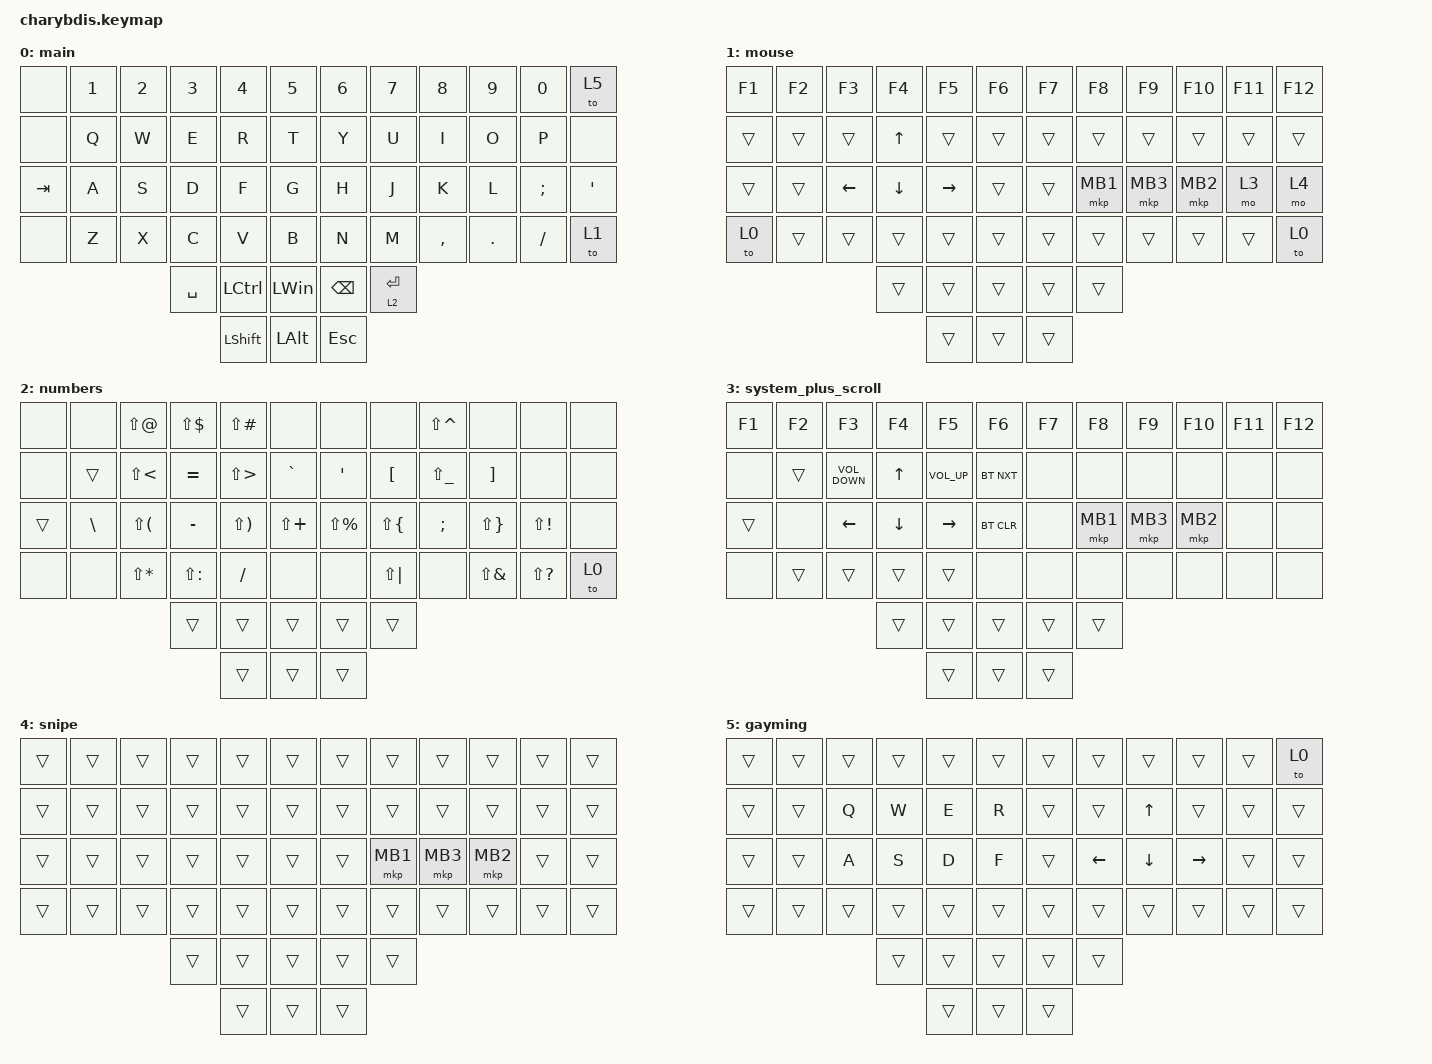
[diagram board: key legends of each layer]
#include <behaviors.dtsi>
#include <dt-bindings/zmk/bt.h>
#include <dt-bindings/zmk/keys.h>
#include <dt-bindings/zmk/pointing.h>

&lt {
    tapping-term-ms = <200>;
    flavor = "balanced";
    quick-tap-ms = <150>;
};

/ {
    keymap {
        compatible = "zmk,keymap";

        main {
            bindings = <
&none    &kp N1  &kp N2  &kp N3     &kp N4          &kp N5          &kp N6         &kp N7        &kp N8     &kp N9      &kp N0    &to 5
&none    &kp Q   &kp W   &kp E      &kp R           &kp T           &kp Y          &kp U         &kp I      &kp O       &kp P     &none
&kp TAB  &kp A   &kp S   &kp D      &kp F           &kp G           &kp H          &kp J         &kp K      &kp L       &kp SEMI  &kp SQT
&none    &kp Z   &kp X   &kp C      &kp V           &kp B           &kp N          &kp M         &kp COMMA  &kp PERIOD  &kp FSLH  &to 1
                         &kp SPACE  &kp LCTRL       &kp LEFT_WIN    &kp BACKSPACE  &lt 2 RETURN
                                    &kp LEFT_SHIFT  &kp LEFT_ALT    &kp ESCAPE
            >;
        };

        mouse {
            bindings = <
&kp F1  &kp F2  &kp F3    &kp F4    &kp F5     &kp F6    &kp F7  &kp F8    &kp F9    &kp F10   &kp F11  &kp F12
&trans  &trans  &trans    &kp UP    &trans     &trans    &trans  &trans    &trans    &trans    &trans   &trans
&trans  &trans  &kp LEFT  &kp DOWN  &kp RIGHT  &trans    &trans  &mkp MB1  &mkp MB3  &mkp MB2  &mo 3    &mo 4
&to 0   &trans  &trans    &trans    &trans     &trans    &trans  &trans    &trans    &trans    &trans   &to 0
                          &trans    &trans     &trans    &trans  &trans
                                    &trans     &trans    &trans
            >;
        };

        numbers {
            bindings = <
&none   &none          &kp LS(AT)    &kp LS(DLLR)   &kp LS(POUND)  &none           &none          &none         &kp LS(CARET)  &none         &none          &none
&none   &trans         &kp LS(LT)    &kp EQUAL      &kp LS(GT)     &kp GRAVE       &kp SQT        &kp LBKT      &kp LS(UNDER)  &kp RBKT      &none          &none
&trans  &kp BACKSLASH  &kp LS(LPAR)  &kp MINUS      &kp LS(RPAR)   &kp LS(PLUS)    &kp LS(PRCNT)  &kp LS(LBRC)  &kp SEMI       &kp LS(RBRC)  &kp LS(EXCL)   &none
&none   &none          &kp LS(STAR)  &kp LS(COLON)  &kp FSLH       &none           &none          &kp LS(PIPE)  &none          &kp LS(AMPS)  &kp LS(QMARK)  &to 0
                                     &trans         &trans         &trans          &trans         &trans
                                                    &trans         &trans          &trans
            >;
        };

        system_plus_scroll {
            bindings = <
&kp F1  &kp F2  &kp F3             &kp F4    &kp F5           &kp F6        &kp F7  &kp F8    &kp F9    &kp F10   &kp F11  &kp F12
&none   &trans  &kp C_VOLUME_DOWN  &kp UP    &kp C_VOLUME_UP  &bt BT_NXT    &none   &none     &none     &none     &none    &none
&trans  &none   &kp LEFT           &kp DOWN  &kp RIGHT        &bt BT_CLR    &none   &mkp MB1  &mkp MB3  &mkp MB2  &none    &none
&none   &trans  &trans             &trans    &trans           &none         &none   &none     &none     &none     &none    &none
                                   &trans    &trans           &trans        &trans  &trans
                                             &trans           &trans        &trans
            >;
        };

        snipe {
            bindings = <
&trans  &trans  &trans  &trans  &trans  &trans    &trans  &trans    &trans    &trans    &trans  &trans
&trans  &trans  &trans  &trans  &trans  &trans    &trans  &trans    &trans    &trans    &trans  &trans
&trans  &trans  &trans  &trans  &trans  &trans    &trans  &mkp MB1  &mkp MB3  &mkp MB2  &trans  &trans
&trans  &trans  &trans  &trans  &trans  &trans    &trans  &trans    &trans    &trans    &trans  &trans
                        &trans  &trans  &trans    &trans  &trans
                                &trans  &trans    &trans
            >;
        };

        gayming {
            bindings = <
&trans  &trans  &trans  &trans  &trans  &trans    &trans  &trans    &trans    &trans     &trans  &to 0
&trans  &trans  &kp Q   &kp W   &kp E   &kp R     &trans  &trans    &kp UP    &trans     &trans  &trans
&trans  &trans  &kp A   &kp S   &kp D   &kp F     &trans  &kp LEFT  &kp DOWN  &kp RIGHT  &trans  &trans
&trans  &trans  &trans  &trans  &trans  &trans    &trans  &trans    &trans    &trans     &trans  &trans
                        &trans  &trans  &trans    &trans  &trans
                                &trans  &trans    &trans
            >;
        };

        /* layer_2 {
            bindings = <
&none  &none   &none    &none   &none         &none         &kp N1         &none         &none     &none  &none   &to 0
&none  &none   &none    &none   &none         &none         &none         &none          &rgb_ug RGB_BRD &rgb_ug RGB_BRI  &rgb_ug RGB_EFF   &rgb_ug RGB_TOG
&none  &none   &none    &none   &none         &none         &none         &mkp LCLK     &mkp RCLK  &none  &none   &none
&none  &none   &none    &none   &bt BT_NXT  &bt BT_CLR    &none         &none         &none     &none  &none   &none
                                   &none         &none         &none         &none         &none
                                                 &none         &none         &none
            >;
       
            
        };

       Mouse {
            bindings = <
&none        &none         &none         &none         &none      &none         &none       &none      &none         &none         &none         &none
&none        &bt BT_SEL 0  &bt BT_SEL 1  &bt BT_SEL 3  &none      &bt BT_CLR    &bt BT_CLR  &none      &bt BT_SEL 2  &bt BT_SEL 1  &bt BT_SEL 0  &none
&none        &trans        &trans        &mkp MCLK     &trans     &none         &none       &trans     &mkp MCLK     &trans        &trans        &none
&bootloader  &trans        &mkp RCLK     &mo 4         &mkp LCLK  &mo 5         &mo 5       &mkp LCLK  &mo 4         &mkp RCLK     &trans        &bootloader
                                         &mo 5         &mkp LCLK  &mkp RCLK     &mkp RCLK   &mkp LCLK
                                                       &none      &trans        &trans
            >;

            
        };

        layer_4 {
            bindings = <
&trans  &trans  &trans     &trans     &trans     &trans       &trans     &trans     &trans     &trans     &trans  &trans
&trans  &trans  &trans     &trans     &trans     &trans       &trans     &trans     &trans     &trans     &trans  &trans
&trans  &trans  &trans     &mkp MCLK  &trans     &trans       &trans     &trans     &mkp MCLK  &trans     &trans  &trans
&trans  &trans  &mkp RCLK  &trans     &mkp LCLK  &trans       &trans     &mkp LCLK  &trans     &mkp RCLK  &trans  &trans
                           &trans     &mkp LCLK  &mkp RCLK    &mkp RCLK  &mkp LCLK
                                      &trans     &trans       &trans
            >;
                
                
               
        };

        layer_5 {
            bindings = <
&trans  &trans  &trans     &trans     &trans     &trans       &trans     &trans     &trans     &trans     &trans  &trans
&trans  &trans  &trans     &trans     &trans     &trans       &trans     &trans     &trans     &trans     &trans  &trans
&trans  &trans  &trans     &mkp MCLK  &trans     &trans       &trans     &trans     &mkp MCLK  &trans     &trans  &trans
&trans  &trans  &mkp RCLK  &trans     &mkp LCLK  &trans       &trans     &mkp LCLK  &trans     &mkp RCLK  &trans  &trans
                           &trans     &mkp LCLK  &mkp RCLK    &mkp RCLK  &mkp LCLK
                                      &trans     &trans       &trans
            >;
                
                
        };*/
    };
};
